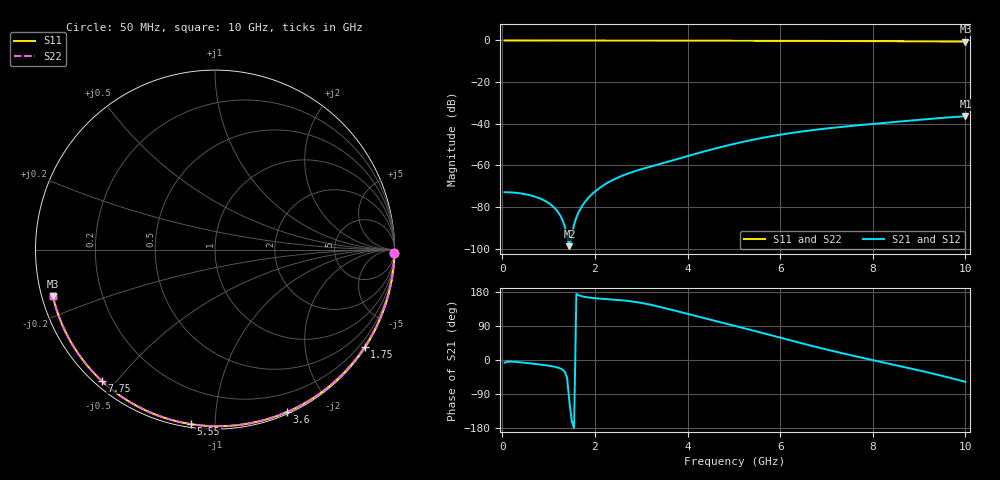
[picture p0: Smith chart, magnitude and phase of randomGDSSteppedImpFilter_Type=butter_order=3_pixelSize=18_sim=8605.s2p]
! freq	dB(S11)	phase(S11)	dB(S12)	phase(S12)
!  dB(S21)	phase(S21)	dB(S22)	phase(S22)
!S-par simulation data
#  GHz  S  DB  R 50
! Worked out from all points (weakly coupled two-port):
!   200 points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, 50 MHz to 10 GHz, reference 50 ohm
!   highest |S21| = -36.41 dB at 10 GHz (marker M1); lowest = -98.9 dB at 1.45 GHz (marker M2)
!   lowest |S11| = -0.5 dB at 10 GHz (marker M3), VSWR 32.21, Z = 1.58 - j7.04 ohm
!   |S11| at or under -10 dB: nowhere
!   |S22| runs from -0.5 to 0.0 dB; largest |S21 - S12| = 0
!   S11 on the Smith chart (normalised r, x): 50 MHz: open; 1.75 GHz: 0.03, -3.37; 3.6 GHz: 0.02, -1.54; 5.55 GHz: 0.02, -0.87; 7.75 GHz: 0.02, -0.46; 10 GHz: 0.03, -0.14
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0.05  -0.00 -1.0  -72.95 -7.2  -72.95 -7.2  -0.00 -1.0
0.35  -0.01 -6.7  -73.37 -5.7  -73.37 -5.7  -0.01 -6.7
0.65  -0.01 -12.5  -74.69 -9.5  -74.69 -9.5  -0.01 -12.5
0.9  -0.02 -17.2  -76.83 -13.2  -76.83 -13.2  -0.02 -17.2
1.1  -0.03 -21.0  -79.89 -17.1  -79.89 -17.1  -0.03 -21.0
1.45  -0.04 -27.5  -98.88 -110.5  -98.88 -110.5  -0.04 -27.5
1.7  -0.04 -32.1  -80.44 168.8  -80.44 168.8  -0.04 -32.1
1.75  -0.04 -33.1  -78.70 167.3  -78.70 167.3  -0.04 -33.1
1.85  -0.04 -34.9  -75.88 165.2  -75.88 165.2  -0.04 -34.9
2  -0.05 -37.7  -72.65 163.1  -72.65 163.1  -0.05 -37.7
2.35  -0.06 -44.0  -67.47 159.8  -67.47 159.8  -0.06 -44.0
2.75  -0.07 -51.2  -63.69 155.4  -63.69 155.4  -0.07 -51.2
3.4  -0.08 -62.6  -59.38 140.3  -59.38 140.3  -0.08 -62.6
3.6  -0.09 -66.0  -58.12 134.2  -58.12 134.2  -0.09 -66.0
4.3  -0.11 -77.7  -53.71 112.6  -53.71 112.6  -0.11 -77.7
5.05  -0.14 -89.9  -49.48 89.4  -49.48 89.4  -0.14 -89.9
5.55  -0.16 -97.8  -47.11 73.4  -47.11 73.4  -0.16 -97.8
6.7  -0.22 -115.4  -43.09 36.8  -43.09 36.8  -0.22 -115.4
7.75  -0.30 -130.9  -40.63 6.4  -40.63 6.4  -0.30 -130.9
8.35  -0.36 -139.6  -39.42 -9.7  -39.42 -9.7  -0.36 -139.6
9.2  -0.44 -152.0  -37.77 -33.1  -37.77 -33.1  -0.44 -152.0
10  -0.54 -163.9  -36.41 -57.6  -36.41 -57.6  -0.54 -163.9
